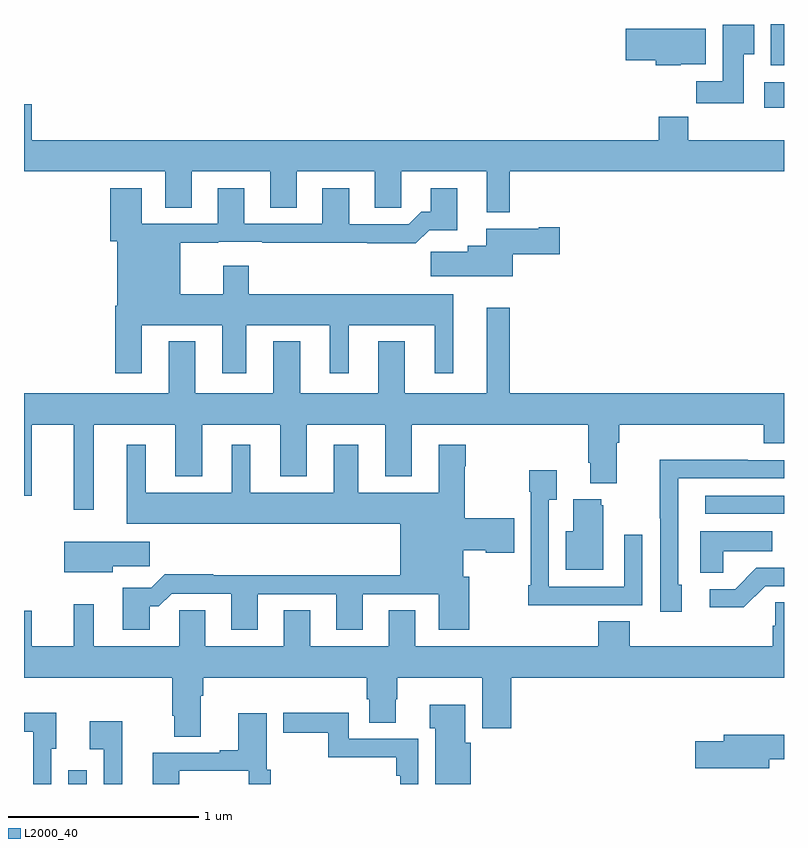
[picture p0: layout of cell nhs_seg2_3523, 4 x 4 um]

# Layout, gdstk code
import gdstk
lib = gdstk.Library(unit=1e-6, precision=1e-09)
def R(c, l, rs):  # rectangles x0, y0, x1, y1
    for r in rs: c.add(gdstk.rectangle(r[:2], r[2:], *l))
def P(c, l, *ps):  # polygons
    for p in ps: c.add(gdstk.Polygon(p, *l))
L2000_40 = (2000, 40)

nhs_seg2_3523 = lib.new_cell('nhs_seg2_3523')
R(nhs_seg2_3523, L2000_40, [(297.234,589.8,297.33,589.873), (300.585,591.222,301,591.318), (300.897,593.36,301,593.494), (300.929,593.582,301,593.8)])
P(nhs_seg2_3523, L2000_40, [(300.787,593.641),(300.844,593.641),(300.844,593.797),(300.677,593.797),(300.677,593.5),(300.538,593.5),(300.538,593.382),(300.787,593.382)],
  [(300.456,593.588),(300.589,593.588),(300.589,593.776),(300.168,593.776),(300.168,593.608),(300.326,593.608),(300.326,593.582),(300.456,593.582)],
  [(299.557,593.024),(301,593.024),(301,593.188),(300.497,593.188),(300.497,593.312),(300.341,593.312),(300.341,593.188),(297.04,593.188),(297.04,593.377),(297,593.377),(297,593.024),(297.743,593.024),(297.743,592.834),(297.883,592.834),(297.883,593.024),(298.295,593.024),(298.295,592.834),(298.435,592.834),(298.435,593.024),(298.847,593.024),(298.847,592.834),(298.986,592.834),(298.986,593.024),(299.435,593.024),(299.435,592.808),(299.557,592.808)],
  [(297.619,592.214),(298.043,592.214),(298.043,591.963),(298.171,591.963),(298.171,592.214),(298.61,592.214),(298.61,591.963),(298.708,591.963),(298.708,592.214),(299.162,592.214),(299.162,591.963),(299.26,591.963),(299.26,592.378),(298.184,592.378),(298.184,592.528),(298.049,592.528),(298.049,592.378),(297.823,592.378),(297.823,592.648),(298.023,592.648),(298.023,592.653),(298.255,592.653),(298.255,592.648),(298.807,592.648),(298.807,592.646),(299.063,592.646),(299.132,592.715),(299.281,592.715),(299.281,592.936),(299.141,592.936),(299.141,592.813),(299.092,592.813),(299.025,592.746),(298.711,592.746),(298.711,592.936),(298.571,592.936),(298.571,592.749),(298.159,592.749),(298.159,592.936),(298.019,592.936),(298.019,592.749),(297.619,592.749),(297.619,592.936),(297.455,592.936),(297.455,592.656),(297.491,592.656),(297.491,592.318),(297.479,592.318),(297.479,591.963),(297.619,591.963)],
  [(299.572,592.589),(299.821,592.589),(299.821,592.731),(299.708,592.731),(299.708,592.723),(299.432,592.723),(299.432,592.633),(299.336,592.633),(299.336,592.601),(299.142,592.601),(299.142,592.472),(299.572,592.472)],
  [(297.367,591.692),(297.797,591.692),(297.797,591.419),(297.937,591.419),(297.937,591.692),(298.349,591.692),(298.349,591.419),(298.489,591.419),(298.489,591.692),(298.901,591.692),(298.901,591.419),(299.041,591.419),(299.041,591.692),(299.969,591.692),(299.969,591.49),(299.981,591.49),(299.981,591.383),(300.121,591.383),(300.121,591.596),(300.134,591.596),(300.134,591.692),(300.893,591.692),(300.893,591.593),(301,591.593),(301,591.856),(299.557,591.856),(299.557,592.306),(299.435,592.306),(299.435,591.856),(299.005,591.856),(299.005,592.129),(298.865,592.129),(298.865,591.856),(298.453,591.856),(298.453,592.129),(298.313,592.129),(298.313,591.856),(297.901,591.856),(297.901,592.129),(297.761,592.129),(297.761,591.856),(297,591.856),(297,591.318),(297.04,591.318),(297.04,591.692),(297.263,591.692),(297.263,591.243),(297.367,591.243)],
  [(297.661,590.735),(297.71,590.735),(297.777,590.802),(298.091,590.802),(298.091,590.613),(298.231,590.613),(298.231,590.799),(298.643,590.799),(298.643,590.613),(298.783,590.613),(298.783,590.799),(299.183,590.799),(299.183,590.613),(299.343,590.613),(299.343,590.892),(299.311,590.892),(299.311,591.029),(299.431,591.029),(299.431,591.017),(299.581,591.017),(299.581,591.2),(299.319,591.2),(299.319,591.473),(299.324,591.473),(299.324,591.586),(299.183,591.586),(299.183,591.334),(298.759,591.334),(298.759,591.586),(298.631,591.586),(298.631,591.334),(298.192,591.334),(298.192,591.586),(298.094,591.586),(298.094,591.334),(297.64,591.334),(297.64,591.586),(297.542,591.586),(297.542,591.17),(298.979,591.17),(298.979,590.9),(297.995,590.9),(297.995,590.903),(297.74,590.903),(297.67,590.833),(297.521,590.833),(297.521,590.613),(297.661,590.613)],
  [(300.463,590.85),(300.444,590.85),(300.444,591.408),(301,591.408),(301,591.504),(300.809,591.504),(300.809,591.506),(300.346,591.506),(300.346,591.199),(300.348,591.199),(300.348,590.706),(300.463,590.706)],
  [(299.939,590.742),(300.255,590.742),(300.255,591.112),(300.159,591.112),(300.159,590.838),(299.763,590.838),(299.763,591.295),(299.803,591.295),(299.803,591.451),(299.66,591.451),(299.66,591.338),(299.667,591.338),(299.667,590.845),(299.655,590.845),(299.655,590.741),(299.939,590.741)],
  [(300.049,591.267),(300.038,591.267),(300.038,591.298),(299.891,591.298),(299.891,591.13),(299.852,591.13),(299.852,590.927),(300.049,590.927)],
  [(300.681,591.026),(300.938,591.026),(300.938,591.13),(300.56,591.13),(300.56,590.911),(300.681,590.911)],
  [(297.466,590.947),(297.661,590.947),(297.661,591.076),(297.212,591.076),(297.212,590.915),(297.466,590.915)],
  [(300.9,590.841),(301,590.841),(301,590.937),(300.854,590.937),(300.743,590.826),(300.609,590.826),(300.609,590.729),(300.787,590.729)],
  [(298.805,590.247),(298.817,590.247),(298.817,590.122),(298.957,590.122),(298.957,590.247),(298.965,590.247),(298.965,590.36),(299.411,590.36),(299.411,590.094),(299.564,590.094),(299.564,590.36),(301,590.36),(301,590.756),(300.954,590.756),(300.954,590.633),(300.941,590.633),(300.941,590.524),(300.188,590.524),(300.188,590.657),(300.023,590.657),(300.023,590.524),(299.059,590.524),(299.059,590.714),(298.919,590.714),(298.919,590.524),(298.507,590.524),(298.507,590.714),(298.367,590.714),(298.367,590.524),(297.955,590.524),(297.955,590.714),(297.816,590.714),(297.816,590.524),(297.367,590.524),(297.367,590.746),(297.263,590.746),(297.263,590.524),(297.04,590.524),(297.04,590.713),(297,590.713),(297,590.36),(297.779,590.36),(297.779,590.158),(297.791,590.158),(297.791,590.05),(297.931,590.05),(297.931,590.264),(297.944,590.264),(297.944,590.36),(298.805,590.36)],
  [(299.35,590.016),(299.323,590.016),(299.323,590.218),(299.135,590.218),(299.135,590.093),(299.165,590.093),(299.165,589.8),(299.35,589.8)],
  [(297.144,589.986),(297.169,589.986),(297.169,590.174),(297,590.174),(297,590.076),(297.048,590.076),(297.048,589.8),(297.144,589.8)],
  [(299.076,590.037),(298.71,590.037),(298.71,590.174),(298.365,590.174),(298.365,590.071),(298.602,590.071),(298.602,589.94),(298.96,589.94),(298.96,589.844),(298.98,589.844),(298.98,589.8),(299.076,589.8)],
  [(297.817,589.869),(298.182,589.869),(298.182,589.8),(298.298,589.8),(298.298,589.876),(298.278,589.876),(298.278,590.173),(298.127,590.173),(298.127,589.978),(298.031,589.978),(298.031,589.965),(297.677,589.965),(297.677,589.8),(297.817,589.8)],
  [(297.517,590.131),(297.345,590.131),(297.345,589.982),(297.42,589.982),(297.42,589.8),(297.517,589.8)],
  [(300.922,589.93),(301,589.93),(301,590.059),(300.683,590.059),(300.683,590.025),(300.534,590.025),(300.534,589.883),(300.922,589.883)])

lib.write_gds('nhs_seg2_3523.gds')
